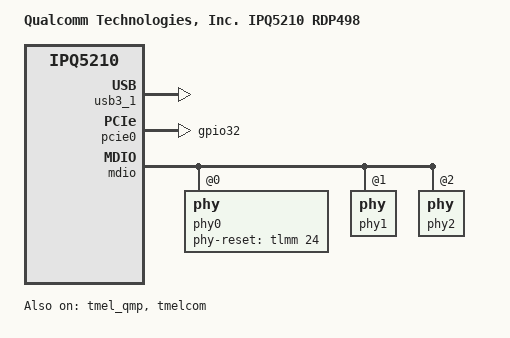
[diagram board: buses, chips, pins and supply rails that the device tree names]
// SPDX-License-Identifier: GPL-2.0-only
/*
 * Copyright (c) Qualcomm Technologies, Inc. and/or its subsidiaries.
 */

/dts-v1/;

#include "ipq5210-u-boot.dtsi"

/ {
	model = "Qualcomm Technologies, Inc. IPQ5210 RDP498";
	compatible = "qcom,ipq5210-rdp498", "qcom,ipq5210";

	aliases {
		serial0 = &uart1;
	};

	soc@0 {
		qmp_ssphy_0: ssphy@7D000 {
			status = "okay";
		};

		qusb2_phy_0: qusb2_0@7B000 {
			status = "okay";
		};

		usb3_1: usb3_1@8af8800 {
			status = "okay";
		};

		pcie0: pcie@70000000 {
			pinctrl-0 = <&pcie0_default_state>;
			pinctrl-names = "default";
			perst-gpios = <&tlmm 32 GPIO_ACTIVE_LOW>;
			status = "okay";
		};

		mdio: mdio@90000 {
			status = "okay";
			phy0: phy@0 {
				phy-reset-gpio = <&tlmm 24 0>;
				phy_addr = <0>;
				phy_type = <QCA8075_PHY_TYPE>;
				id = <1>;
				uniphy_id = <0>;
				uniphy_type = <0>;
			};

			phy1: phy@1 {
				phy_addr = <1>;
				phy_type = <QCA8075_PHY_TYPE>;
				id = <2>;
				uniphy_id = <0>;
				uniphy_type = <0>;
			};

			phy2: phy@2 {
				phy_addr = <2>;
				phy_type = <QCA8075_PHY_TYPE>;
				id = <3>;
				uniphy_id = <0>;
				uniphy_type = <0>;
			};
		};

		ess_instance: ess-instance{
			pinctrl-names = "default";
			pinctrl-0 = <&phy_rst_pinmux>;
			phy-handle0 = <&phy0>;
			phy-handle1 = <&phy1>;
			phy-handle2 = <&phy2>;
			status = "okay";
		};
	};
};

&tlmm {
	pcie0_default_state: pcie0-default-state {
		perst-n-pins {
			pins = "gpio32";
			function = "gpio";
			drive-strength = <6>;
			bias-pull-down;
			output-low;
		};
	};

	phy_rst_pinmux: phy_rst {
		qca_8075_rst {
			pins = "gpio24";
			drive-strength = <6>;
			bias-pull-down;
		};
	};
};

&tmel_qmp {
	status = "okay";
};

&tmelcom {
	status = "okay";
};
